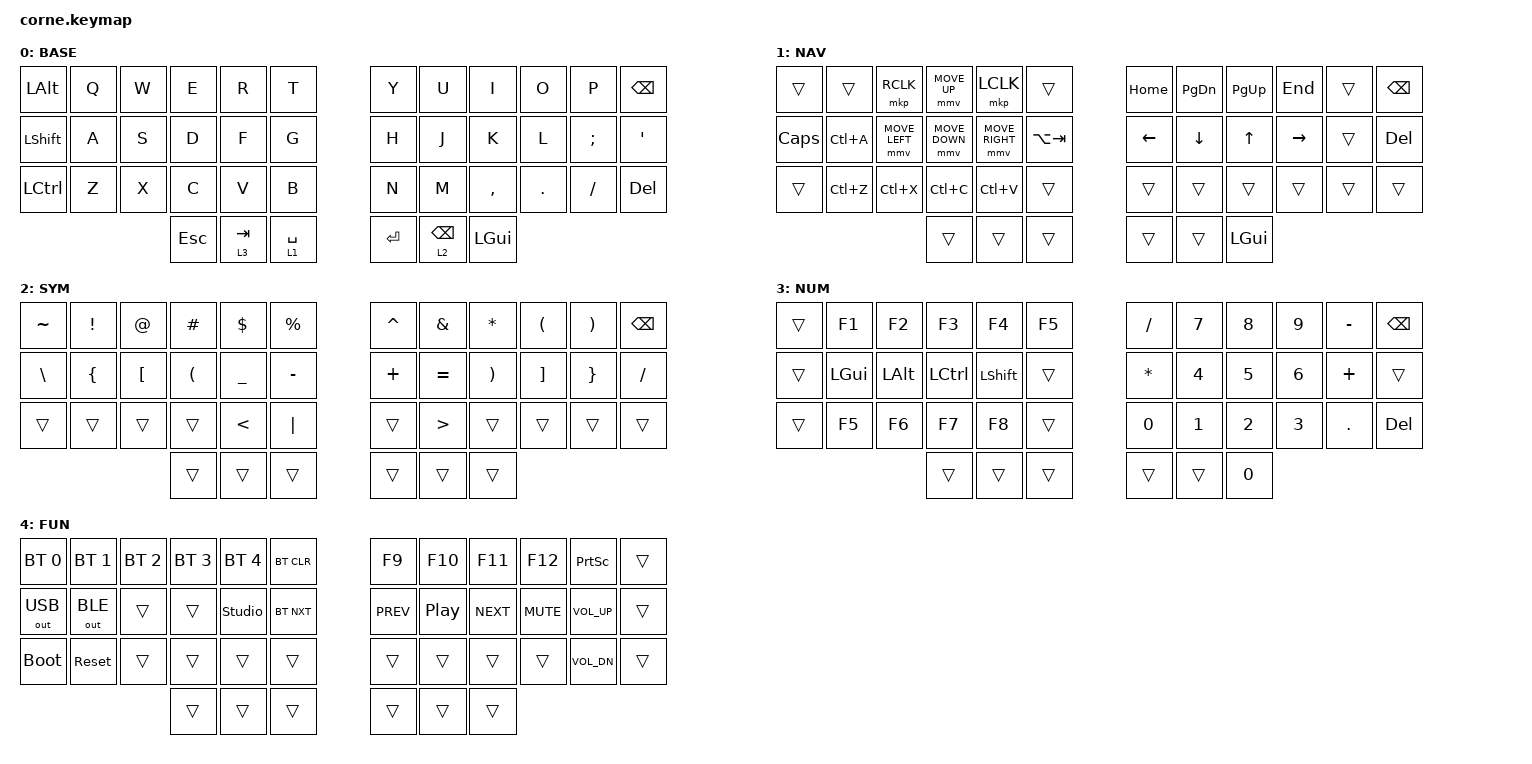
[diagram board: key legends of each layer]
#include <behaviors.dtsi>
#include <dt-bindings/zmk/bt.h>
#include <dt-bindings/zmk/keys.h>
#include <dt-bindings/zmk/outputs.h>
#include <dt-bindings/zmk/pointing.h>

#define BASE 0
#define NAV  1
#define SYM  2
#define NUM  3
#define FUN  4

/ {
    conditional_layers {
        compatible = "zmk,conditional-layers";

        tri_layer {
            if-layers = <3 2>;
            then-layer = <4>;
        };
    };

    keymap {
        compatible = "zmk,keymap";

        base_layer {
            display-name = "BASE";
            bindings = <
&kp LEFT_ALT      &kp Q  &kp W  &kp E       &kp R      &kp T          &kp Y      &kp U       &kp I         &kp O    &kp P     &kp BSPC
&kp LEFT_SHIFT    &kp A  &kp S  &kp D       &kp F      &kp G          &kp H      &kp J       &kp K         &kp L    &kp SEMI  &kp SQT
&kp LEFT_CONTROL  &kp Z  &kp X  &kp C       &kp V      &kp B          &kp N      &kp M       &kp COMMA     &kp DOT  &kp FSLH  &kp DELETE
                                &kp ESCAPE  &lt 3 TAB  &lt 1 SPACE    &kp ENTER  &lt 2 BSPC  &kp LEFT_GUI
            >;
        };

        nav_layer {
            display-name = "NAV";
            bindings = <
&trans    &trans     &mkp RCLK       &mmv MOVE_UP    &mkp LCLK        &trans         &kp HOME        &kp PG_DN       &kp PG_UP     &kp END    &trans  &kp BACKSPACE
&kp CAPS  &kp LC(A)  &mmv MOVE_LEFT  &mmv MOVE_DOWN  &mmv MOVE_RIGHT  &kp LA(TAB)    &kp LEFT_ARROW  &kp DOWN_ARROW  &kp UP_ARROW  &kp RIGHT  &trans  &kp DEL
&trans    &kp LC(Z)  &kp LC(X)       &kp LC(C)       &kp LC(V)        &trans         &trans          &trans          &trans        &trans     &trans  &trans
                                     &trans          &trans           &trans         &trans          &trans          &kp LEFT_GUI
            >;
        };

        sym_layer {
            display-name = "SYM";
            bindings = <
&kp TILDE      &kp EXCL        &kp AT            &kp HASH              &kp DLLR       &kp PRCNT    &kp CARET  &kp AMPS          &kp STAR               &kp LPAR           &kp RPAR         &kp BSPC
&kp BACKSLASH  &kp LEFT_BRACE  &kp LEFT_BRACKET  &kp LEFT_PARENTHESIS  &kp UNDER      &kp MINUS    &kp PLUS   &kp EQUAL         &kp RIGHT_PARENTHESIS  &kp RIGHT_BRACKET  &kp RIGHT_BRACE  &kp SLASH
&trans         &trans          &trans            &trans                &kp LESS_THAN  &kp PIPE     &trans     &kp GREATER_THAN  &trans                 &trans             &trans           &trans
                                                 &trans                &trans         &trans       &trans     &trans            &trans
            >;
        };

        num_layer {
            display-name = "NUM";
            bindings = <
&trans  &kp F1    &kp F2    &kp F3     &kp F4     &kp F5    &kp FSLH  &kp N7  &kp N8  &kp N9  &kp MINUS  &kp BSPC
&trans  &kp LGUI  &kp LALT  &kp LCTRL  &kp LSHFT  &trans    &kp STAR  &kp N4  &kp N5  &kp N6  &kp PLUS   &trans
&trans  &kp F5    &kp F6    &kp F7     &kp F8     &trans    &kp N0    &kp N1  &kp N2  &kp N3  &kp DOT    &kp DEL
                            &trans     &trans     &trans    &trans    &trans  &kp N0
            >;
        };

        fun_layer {
            display-name = "FUN";
            bindings = <
&bt BT_SEL 0  &bt BT_SEL 1  &bt BT_SEL 2  &bt BT_SEL 3  &bt BT_SEL 4    &bt BT_CLR    &kp F9      &kp F10   &kp F11     &kp F12     &kp PSCRN     &trans
&out OUT_USB  &out OUT_BLE  &trans        &trans        &studio_unlock  &bt BT_NXT    &kp C_PREV  &kp C_PP  &kp C_NEXT  &kp C_MUTE  &kp C_VOL_UP  &trans
&bootloader   &sys_reset    &trans        &trans        &trans          &trans        &trans      &trans    &trans      &trans      &kp C_VOL_DN  &trans
                                          &trans        &trans          &trans        &trans      &trans    &trans
            >;
        };
    };
};
